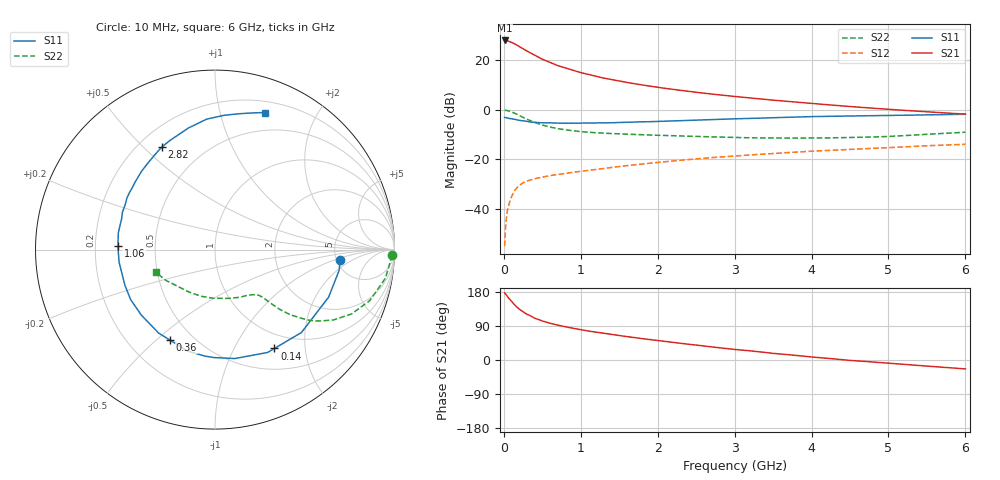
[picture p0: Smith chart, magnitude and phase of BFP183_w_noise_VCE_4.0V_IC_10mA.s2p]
! Infineon Technologies  Discrete & RF Semiconductors
! BFP183
! VCE = 4.0 V,  IC =  10 mA
! Common Emitter S-Parameters:  Jan 2016
# GHz  S  MA  R  50
!  f  S11  S21  S12  S22
! GHz  MAG  ANG  MAG  ANG  MAG  ANG  MAG  ANG
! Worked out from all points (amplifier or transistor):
!   210 points, 10 MHz to 6 GHz, reference 50 ohm
!   highest |S21| = 27.9 dB at 10 MHz (marker M1)
!   |S21| within 3 dB of that: start of sweep to 231.5 MHz
!   unconditionally stable (mu >= 1): 1.183 GHz to 5.651 GHz
!   at 185 MHz: K = 0.25, MSG = 28.4 dB, |S12| = -31.0 dB
!   at 1.52 GHz: K = 1.09, MAG = 15.3 dB, |S12| = -22.8 dB
!   at 6 GHz: K = 0.95, MSG = 6.1 dB, |S12| = -13.9 dB
!   lowest NFmin = 1.30 dB at 450 MHz
!   S11 on the Smith chart (normalised r, x): 10 MHz: 5.39, -1.19; 140 MHz: 0.78, -1.47; 360 MHz: 0.38, -0.56; 1.06 GHz: 0.30, +0.02; 2.82 GHz: 0.29, +0.57; 6 GHz: 0.31, +1.38
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0.01  0.6998 -4.6  24.82 177.2  0.0018 89.2  0.9859 -1.8
0.05  0.6862 -22.7  24.46 166.5  0.01 83.0  0.9629 -9.5
0.1  0.6673 -43.8  22.76 154.3  0.0178 69.1  0.9082 -18.2
0.14  0.6426 -59.0  21.19 145.6  0.0234 63.0  0.8538 -23.7
0.15  0.6438 -62.9  20.87 143.3  0.0248 61.9  0.8415 -25.2
0.2  0.6169 -79.7  18.9 134.1  0.0299 56.9  0.7675 -30.7
0.24  0.6015 -90.5  17.23 128.3  0.0331 52.6  0.7142 -33.8
0.28  0.5886 -100.3  15.85 123.2  0.0356 49.8  0.6668 -36.3
0.36  0.5634 -116.3  13.53 115.0  0.0394 46.2  0.5899 -39.4
0.4  0.5612 -124.0  12.5 110.4  0.0411 44.7  0.5543 -40.9
0.5  0.5493 -138.4  10.4 102.9  0.0442 42.2  0.4912 -42.7
0.6  0.5463 -149.3  8.967 97.0  0.0475 41.7  0.4482 -43.6
0.8  0.5349 -166.0  6.92 87.5  0.0522 41.3  0.3948 -44.5
1.02  0.5394 179.8  5.499 79.2  0.0581 42.2  0.361 -45.7
1.06  0.5404 177.7  5.311 77.9  0.0594 42.3  0.3567 -46.0
1.5  0.5563 158.0  3.783 64.4  0.0719 43.2  0.3271 -50.1
2.02  0.5843 139.0  2.797 50.9  0.0879 42.7  0.3067 -57.9
2.82  0.6441 117.2  1.98 31.8  0.1123 39.2  0.282 -74.5
3.1  0.6629 110.5  1.79 26.1  0.1202 37.5  0.2747 -81.4
4.1  0.7319 92.0  1.303 6.3  0.1489 30.7  0.271 -109.8
5.1  0.7721 78.9  0.997 -9.9  0.175 24.6  0.2957 -137.8
6  0.8127 70.0  0.816 -23.6  0.202 16.8  0.3535 -159.2
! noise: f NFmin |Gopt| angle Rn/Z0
0.45  1.3  0.15  45  0.18
0.9  1.4  0.2  125  0.19
1.8  2.1  0.34  -170  0.14
